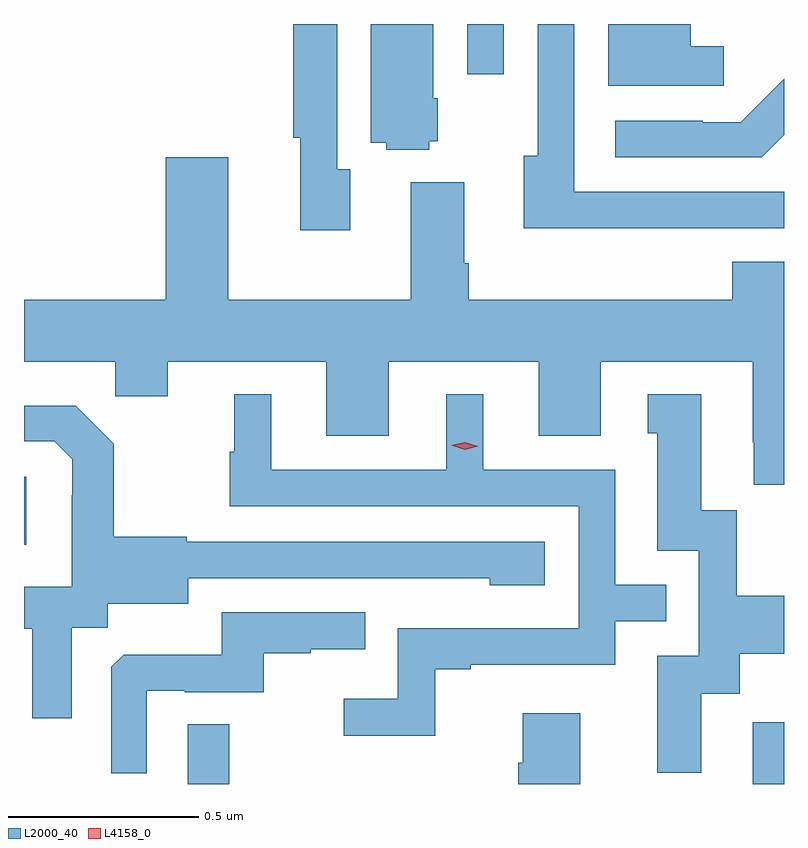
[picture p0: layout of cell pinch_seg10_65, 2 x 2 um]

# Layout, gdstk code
import gdstk
lib = gdstk.Library(unit=1e-6, precision=1e-09)
def R(c, l, rs):  # rectangles x0, y0, x1, y1
    for r in rs: c.add(gdstk.rectangle(r[:2], r[2:], *l))
def P(c, l, *ps):  # polygons
    for p in ps: c.add(gdstk.Polygon(p, *l))
L2000_40 = (2000, 40)
L4158_0 = (4158, 0)

pinch_seg10_65 = lib.new_cell('pinch_seg10_65')
R(pinch_seg10_65, L2000_40, [(836.394,1296.541,836.503,1296.698), (837.881,1296.541,837.963,1296.703), (835.963,1297.17,835.969,1297.35), (837.129,1298.409,837.225,1298.541)])
P(pinch_seg10_65, L2000_40, [(837.805,1298.482),(837.717,1298.482),(837.717,1298.541),(837.5,1298.541),(837.5,1298.379),(837.805,1298.379)],
  [(837.03,1298.232),(837.052,1298.232),(837.052,1298.346),(837.04,1298.346),(837.04,1298.541),(836.876,1298.541),(836.876,1298.228),(836.916,1298.228),(836.916,1298.21),(837.03,1298.21)],
  [(837.743,1298.004),(837.963,1298.004),(837.963,1298.1),(837.411,1298.1),(837.411,1298.541),(837.315,1298.541),(837.315,1298.194),(837.278,1298.194),(837.278,1298.003),(837.743,1298.003)],
  [(836.821,1298.159),(836.787,1298.159),(836.787,1298.541),(836.671,1298.541),(836.671,1298.242),(836.69,1298.242),(836.69,1297.998),(836.821,1297.998)],
  [(837.963,1298.249),(837.963,1298.397),(837.849,1298.283),(837.749,1298.283),(837.749,1298.286),(837.519,1298.286),(837.519,1298.19),(837.904,1298.19)],
  [(837.963,1297.915),(837.827,1297.915),(837.827,1297.816),(837.134,1297.816),(837.134,1297.912),(837.121,1297.912),(837.121,1298.125),(836.981,1298.125),(836.981,1297.816),(836.5,1297.816),(836.5,1298.191),(836.336,1298.191),(836.336,1297.816),(835.963,1297.816),(835.963,1297.652),(836.203,1297.652),(836.203,1297.562),(836.341,1297.562),(836.341,1297.652),(836.759,1297.652),(836.759,1297.458),(836.923,1297.458),(836.923,1297.652),(837.317,1297.652),(837.317,1297.458),(837.481,1297.458),(837.481,1297.652),(837.881,1297.652),(837.881,1297.441),(837.883,1297.441),(837.883,1297.329),(837.963,1297.329)],
  [(837.045,1296.843),(837.139,1296.843),(837.139,1296.855),(837.519,1296.855),(837.519,1296.969),(837.653,1296.969),(837.653,1297.065),(837.519,1297.065),(837.519,1297.368),(837.172,1297.368),(837.172,1297.567),(837.074,1297.567),(837.074,1297.368),(836.614,1297.368),(836.614,1297.567),(836.516,1297.567),(836.516,1297.416),(836.505,1297.416),(836.505,1297.272),(837.423,1297.272),(837.423,1296.951),(836.946,1296.951),(836.946,1296.766),(836.805,1296.766),(836.805,1296.668),(837.045,1296.668)],
  [(837.745,1296.778),(837.847,1296.778),(837.847,1296.884),(837.963,1296.884),(837.963,1297.036),(837.838,1297.036),(837.838,1297.261),(837.745,1297.261),(837.745,1297.567),(837.605,1297.567),(837.605,1297.464),(837.629,1297.464),(837.629,1297.155),(837.738,1297.155),(837.738,1296.879),(837.629,1296.879),(837.629,1296.57),(837.745,1296.57)],
  [(836.089,1296.952),(836.184,1296.952),(836.184,1297.016),(836.395,1297.016),(836.395,1297.083),(836.953,1297.083),(836.953,1297.082),(837.189,1297.082),(837.189,1297.064),(837.334,1297.064),(837.334,1297.179),(836.391,1297.179),(836.391,1297.192),(836.199,1297.192),(836.199,1297.437),(836.099,1297.537),(835.963,1297.537),(835.963,1297.443),(836.043,1297.443),(836.09,1297.396),(836.09,1297.301),(836.088,1297.301),(836.088,1297.06),(835.963,1297.06),(835.963,1296.95),(835.985,1296.95),(835.985,1296.714),(836.089,1296.714)],
  [(836.286,1296.786),(836.386,1296.786),(836.386,1296.783),(836.594,1296.783),(836.594,1296.885),(836.717,1296.885),(836.717,1296.896),(836.861,1296.896),(836.861,1296.993),(836.484,1296.993),(836.484,1296.881),(836.225,1296.881),(836.193,1296.849),(836.193,1296.569),(836.286,1296.569)],
  [(837.427,1296.727),(837.275,1296.727),(837.275,1296.597),(837.263,1296.597),(837.263,1296.541),(837.427,1296.541)])
P(pinch_seg10_65, L4158_0, [(837.123,1297.421),(837.087,1297.432),(837.087,1297.432),(837.087,1297.432),(837.123,1297.441),(837.159,1297.43),(837.159,1297.43),(837.159,1297.43)])

lib.write_gds('pinch_seg10_65.gds')
